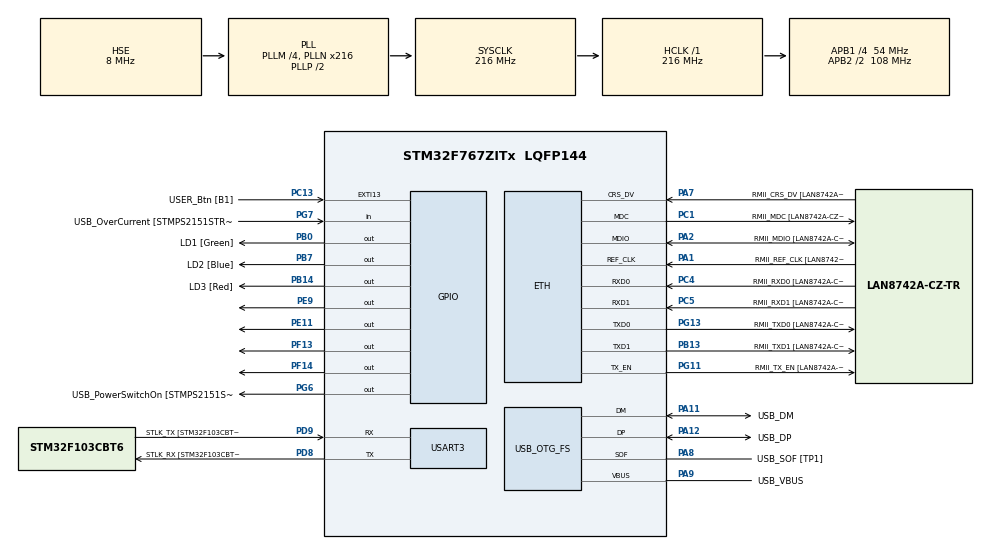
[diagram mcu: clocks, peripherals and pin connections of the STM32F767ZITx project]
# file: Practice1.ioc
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ETH.MediaInterface=HAL_ETH_RMII_MODE
ETH.PHY_Name=LAN8742A_PHY_ADDRESS
ETH.PHY_Value=0
ETH.PhyAddress=0
Mcu.Family=STM32F7
Mcu.Name=STM32F767ZITx
Mcu.Package=LQFP144
NVIC.PriorityGroup=NVIC_PRIORITYGROUP_4
PA1.GPIO_Label=RMII_REF_CLK [LAN8742A-CZ-TR_REFCLK0]
PA1.Mode=RMII
PA1.Signal=ETH_REF_CLK
PA10.GPIO_Label=USB_ID
PA10.Signal=USB_OTG_FS_ID
PA11.GPIO_Label=USB_DM
PA11.Mode=Device_Only
PA11.Signal=USB_OTG_FS_DM
PA12.GPIO_Label=USB_DP
PA12.Mode=Device_Only
PA12.Signal=USB_OTG_FS_DP
PA13.GPIO_Label=TMS
PA13.Mode=Serial_Wire
PA13.Signal=SYS_JTMS-SWDIO
PA14.GPIO_Label=TCK
PA14.Mode=Serial_Wire
PA14.Signal=SYS_JTCK-SWCLK
PA2.GPIO_Label=RMII_MDIO [LAN8742A-CZ-TR_MDIO]
PA2.Mode=RMII
PA2.Signal=ETH_MDIO
PA7.GPIO_Label=RMII_CRS_DV [LAN8742A-CZ-TR_CRS_DV]
PA7.Mode=RMII
PA7.Signal=ETH_CRS_DV
PA8.GPIO_Label=USB_SOF [TP1]
PA8.Mode=Activate_SOF_FS
PA8.Signal=USB_OTG_FS_SOF
PA9.GPIO_Label=USB_VBUS
PA9.Mode=Activate_VBUS
PA9.Signal=USB_OTG_FS_VBUS
PB0.GPIO_Label=LD1 [Green]
PB0.Signal=GPIO_Output
PB13.GPIO_Label=RMII_TXD1 [LAN8742A-CZ-TR_TXD1]
PB13.Mode=RMII
PB13.Signal=ETH_TXD1
PB14.GPIO_Label=LD3 [Red]
PB14.Signal=GPIO_Output
PB3.GPIO_Label=SWO
PB3.Signal=SYS_JTDO-SWO
PB7.GPIO_Label=LD2 [Blue]
PB7.Signal=GPIO_Output
PC1.GPIO_Label=RMII_MDC [LAN8742A-CZ-TR_MDC]
PC1.Mode=RMII
PC1.Signal=ETH_MDC
PC13.GPIO_Label=USER_Btn [B1]
PC13.Signal=GPXTI13
PC14/OSC32_IN.Mode=LSE-External-Oscillator
PC14/OSC32_IN.Signal=RCC_OSC32_IN
PC15/OSC32_OUT.Mode=LSE-External-Oscillator
PC15/OSC32_OUT.Signal=RCC_OSC32_OUT
PC4.GPIO_Label=RMII_RXD0 [LAN8742A-CZ-TR_RXD0]
PC4.Mode=RMII
PC4.Signal=ETH_RXD0
PC5.GPIO_Label=RMII_RXD1 [LAN8742A-CZ-TR_RXD1]
PC5.Mode=RMII
PC5.Signal=ETH_RXD1
PD8.GPIO_Label=STLK_RX [STM32F103CBT6_PA3]
PD8.Mode=Asynchronous
PD8.Signal=USART3_TX
PD9.GPIO_Label=STLK_TX [STM32F103CBT6_PA2]
PD9.Mode=Asynchronous
PD9.Signal=USART3_RX
PE11.Signal=GPIO_Output
PE9.Signal=GPIO_Output
PF13.Signal=GPIO_Output
PF14.Signal=GPIO_Output
PG11.GPIO_Label=RMII_TX_EN [LAN8742A-CZ-TR_TXEN]
PG11.Mode=RMII
PG11.Signal=ETH_TX_EN
PG13.GPIO_Label=RMII_TXD0 [LAN8742A-CZ-TR_TXD0]
PG13.Mode=RMII
PG13.Signal=ETH_TXD0
PG6.GPIO_Label=USB_PowerSwitchOn [STMPS2151STR_EN]
PG6.Signal=GPIO_Output
PG7.GPIO_Label=USB_OverCurrent [STMPS2151STR_FAULT]
PG7.Signal=GPIO_Input
PH0/OSC_IN.GPIO_Label=MCO [STM32F103CBT6_PA8]
PH0/OSC_IN.Mode=HSE-External-Clock-Source
PH0/OSC_IN.Signal=RCC_OSC_IN
PH1/OSC_OUT.Mode=HSE-External-Clock-Source
PH1/OSC_OUT.Signal=RCC_OSC_OUT
ProjectManager.HeapSize=0x200
ProjectManager.StackSize=0x400
ProjectManager.TargetToolchain=STM32CubeIDE
RCC.48MHZClocksFreq_Value=24000000
RCC.AHBFreq_Value=216000000
RCC.APB1CLKDivider=RCC_HCLK_DIV4
RCC.APB1Freq_Value=54000000
RCC.APB1TimFreq_Value=108000000
RCC.APB2CLKDivider=RCC_HCLK_DIV2
RCC.APB2Freq_Value=108000000
RCC.APB2TimFreq_Value=216000000
RCC.CortexFreq_Value=216000000
RCC.HCLKFreq_Value=216000000
RCC.HSE_VALUE=8000000
RCC.HSI_VALUE=16000000
RCC.PLLM=4
RCC.PLLMUL=RCC_PLL_MUL9
RCC.PLLN=216
RCC.PLLQ=9
RCC.PRESCALERUSB=RCC_USBCLKSOURCE_PLL_DIV1_5
RCC.SYSCLKFreq_VALUE=216000000
RCC.SYSCLKSource=RCC_SYSCLKSOURCE_PLLCLK
RCC.SYSCLKSourceVirtual=RCC_SYSCLKSOURCE_PLLCLK
RCC.USBFreq_Value=48000000
RCC.VCOOutputFreq_Value=432000000
USART3.VirtualMode-Asynchronous=VM_ASYNC
USB_OTG_FS.VirtualMode=Device_Only
board=NUCLEO-F767ZI

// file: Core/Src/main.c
/* USER CODE BEGIN Header */
/**
  ******************************************************************************
  * @file           : main.c
  * @brief          : Main program body
  ******************************************************************************
  * @attention
  *
  * Copyright (c) 2025 STMicroelectronics.
  * All rights reserved.
  *
  * This software is licensed under terms that can be found in the LICENSE file
  * in the root directory of this software component.
  * If no LICENSE file comes with this software, it is provided AS-IS.
  *
  ******************************************************************************
  */
/* USER CODE END Header */
#include "main.h"
#include "eth.h"
#include "usart.h"
#include "usb_otg.h"
#include "gpio.h"

/* USER CODE BEGIN PTD */
typedef struct {
    GPIO_TypeDef *port;
    uint16_t pin;
} LedPin;

LedPin leds[4] = {
    {GPIOF, GPIO_PIN_13},
    {GPIOE, GPIO_PIN_9},
    {GPIOE, GPIO_PIN_11},
    {GPIOF, GPIO_PIN_14}
};

uint16_t led_value[4];

/* USER CODE END PTD */

void SystemClock_Config(void);

/* USER CODE BEGIN 0 */
int bitRead(int value, int bit_position) {
  // Shift the value to the right, placing the desired bit at the 0th position
  // Then, perform a bitwise AND with 1 to isolate that bit
  return (value >> bit_position) & 1;
}
/* USER CODE END 0 */

int main(void)
{

  /* MCU Configuration--------------------------------------------------------*/

  /* Reset of all peripherals, Initializes the Flash interface and the Systick. */
  HAL_Init();

  /* Configure the system clock */
  SystemClock_Config();

  /* Initialize all configured peripherals */
  MX_GPIO_Init();
  MX_ETH_Init();
  MX_USART3_UART_Init();
  MX_USB_OTG_FS_PCD_Init();

  /* Infinite loop */
  /* USER CODE BEGIN WHILE */
  int count = 0 ;
  while (1)
  {
    /* USER CODE END WHILE */

    /* USER CODE BEGIN 3 */
	  count += 1;
	  count %= 16;

	  led_value[0] = bitRead(count ,3 );// MSB
	  led_value[1] = bitRead(count, 2);
	  led_value[2] = bitRead(count, 1);
	  led_value[3] = bitRead(count, 0);

	 //display led
	  HAL_GPIO_WritePin(leds[0].port, leds[0].pin, led_value[0]);
	  HAL_GPIO_WritePin(leds[1].port, leds[1].pin, led_value[1]);
	  HAL_GPIO_WritePin(leds[2].port, leds[2].pin, led_value[2]);
	  HAL_GPIO_WritePin(leds[3].port, leds[3].pin, led_value[3]);

	  HAL_Delay(400);
  }
  /* USER CODE END 3 */
}

void SystemClock_Config(void)
{
  RCC_OscInitTypeDef RCC_OscInitStruct = {0};
  RCC_ClkInitTypeDef RCC_ClkInitStruct = {0};

  /** Configure LSE Drive Capability
  */
  HAL_PWR_EnableBkUpAccess();

  /** Configure the main internal regulator output voltage
  */
  __HAL_RCC_PWR_CLK_ENABLE();
  __HAL_PWR_VOLTAGESCALING_CONFIG(PWR_REGULATOR_VOLTAGE_SCALE1);

  /** Initializes the RCC Oscillators according to the specified parameters
  * in the RCC_OscInitTypeDef structure.
  */
  RCC_OscInitStruct.OscillatorType = RCC_OSCILLATORTYPE_HSE;
  RCC_OscInitStruct.HSEState = RCC_HSE_BYPASS;
  RCC_OscInitStruct.PLL.PLLState = RCC_PLL_ON;
  RCC_OscInitStruct.PLL.PLLSource = RCC_PLLSOURCE_HSE;
  RCC_OscInitStruct.PLL.PLLM = 4;
  RCC_OscInitStruct.PLL.PLLN = 216;
  RCC_OscInitStruct.PLL.PLLP = RCC_PLLP_DIV2;
  RCC_OscInitStruct.PLL.PLLQ = 9;
  RCC_OscInitStruct.PLL.PLLR = 2;
  if (HAL_RCC_OscConfig(&RCC_OscInitStruct) != HAL_OK)
  {
    Error_Handler();
  }

  /** Activate the Over-Drive mode
  */
  if (HAL_PWREx_EnableOverDrive() != HAL_OK)
  {
    Error_Handler();
  }

  /** Initializes the CPU, AHB and APB buses clocks
  */
  RCC_ClkInitStruct.ClockType = RCC_CLOCKTYPE_HCLK|RCC_CLOCKTYPE_SYSCLK
                              |RCC_CLOCKTYPE_PCLK1|RCC_CLOCKTYPE_PCLK2;
  RCC_ClkInitStruct.SYSCLKSource = RCC_SYSCLKSOURCE_PLLCLK;
  RCC_ClkInitStruct.AHBCLKDivider = RCC_SYSCLK_DIV1;
  RCC_ClkInitStruct.APB1CLKDivider = RCC_HCLK_DIV4;
  RCC_ClkInitStruct.APB2CLKDivider = RCC_HCLK_DIV2;

  if (HAL_RCC_ClockConfig(&RCC_ClkInitStruct, FLASH_LATENCY_7) != HAL_OK)
  {
    Error_Handler();
  }
}

void Error_Handler(void)
{
  __disable_irq();
  while (1)
  {
  }
}
